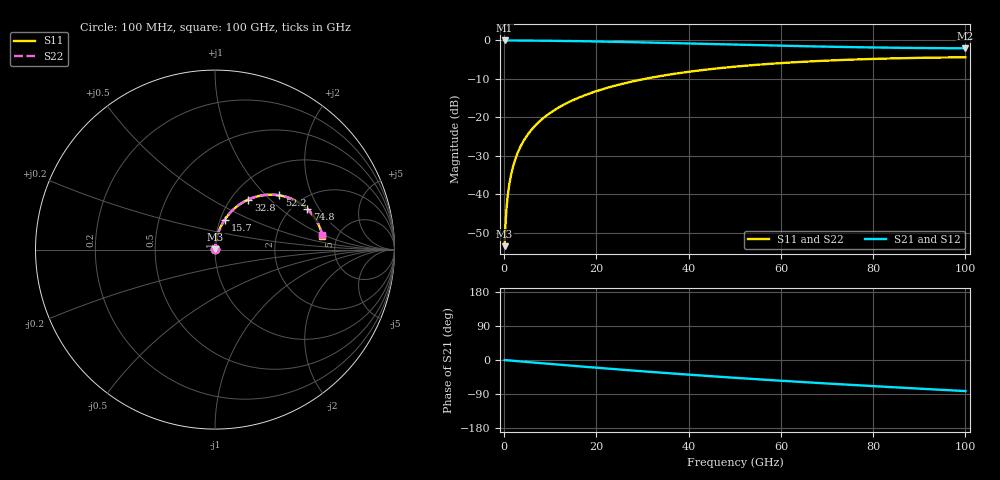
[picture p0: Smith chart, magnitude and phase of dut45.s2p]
! Touchstone file exported from HFSS 2026.1.0
!  File:  C:/ffzhzh/LocalFiles/Ansys_Project_Files/temp_train_RDL_45_1783498209_55944.aedt
!  Generated:  04:11:12 PM Jul  8, 2026
!  Design:  RDL
!  Project:  temp_train_RDL_45_1783498209_55944
! Variables:
!  h_bsmrdl = 2um
!  h_ox = 20um
!  h_rdl = 5um
!  h_sub = 80um
!  h_tmrdl = 3.61um
!  h_tsv = 80um
!  h_via = 3um
!  l_bsmrdl = 300um
!  l_sub = 654.49um
!  l_tmrdl = 254.49um
!  m_sub = 200um
!  pitch = 42.77um
!  r_tsv = 6um
!  s_tmrdl = 10um
!  w_bsmrdl = 18um
!  w_sub = 500um
!  w_tmrdl = 16.22um
!  x_tsv_center1 = 262.6um
!  x_tsv_center2 = 580.6um
!  x_tsv_center3 = 851.31um
!  x_tsv_center4 = 1169.31um
!  x_tsv_center5 = 1440.02um
!  x_tsv_center6 = 1758.02um
# GHz S MA R 50.000000
! Terminal data exported
! Port[1] = TM_RDL1_1_T1
! Port[2] = TM_RDL1_1_T2
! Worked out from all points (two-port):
!   1000 points, 100 MHz to 100 GHz, reference 50 ohm
!   highest |S21| = -0.01 dB at 100 MHz (marker M1); lowest = -2.1 dB at 100 GHz (marker M2)
!   |S21| within 3 dB of the highest: start of sweep to end of sweep
!   lowest |S11| = -53.5 dB at 100 MHz (marker M3), VSWR 1.00, Z = 50.2 + j0.126 ohm
!   |S11| at or under -10 dB: start of sweep to 30.5 GHz
!   |S22| runs from -53.5 to -4.4 dB; largest |S21 - S12| = 4.3e-15
!   S11 on the Smith chart (normalised r, x): 100 MHz: 1.00, +0.00; 15.7 GHz: 1.05, +0.36; 32.8 GHz: 1.20, +0.75; 52.2 GHz: 1.55, +1.20; 74.8 GHz: 2.38, +1.57; 100 GHz: 3.81, +0.91
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0.1  0.00212 36.5  0.9983 -0.1  0.9983 -0.1  0.00212 36.5
! Gamma 0 0 0 0
! Port Impedance 50 0 50 0
0.3  0.004135 63.8  0.9982 -0.3  0.9982 -0.3  0.004135 63.8
0.7  0.008663 76.1  0.998 -0.8  0.998 -0.8  0.008663 76.1
0.9  0.01096 78.4  0.9979 -1.0  0.9979 -1.0  0.01096 78.4
1.4  0.01676 81.3  0.9977 -1.5  0.9977 -1.5  0.01676 81.3
1.9  0.02258 82.4  0.9975 -2.0  0.9975 -2.0  0.02258 82.4
2.4  0.02842 82.8  0.9973 -2.5  0.9973 -2.5  0.02841 82.8
3.8  0.04468 82.6  0.9964 -4.0  0.9964 -4.0  0.04468 82.6
5.8  0.06762 81.2  0.9945 -6.1  0.9945 -6.1  0.06762 81.2
8.4  0.09684 78.8  0.9913 -8.8  0.9913 -8.8  0.09684 78.9
11.7  0.133 75.7  0.9862 -12.1  0.9862 -12.1  0.133 75.8
15.7  0.1753 72.0  0.9787 -16.1  0.9787 -16.1  0.1753 72.0
16.8  0.1867 70.9  0.9764 -17.2  0.9764 -17.2  0.1867 71.0
24  0.2577 64.2  0.9592 -24.2  0.9592 -24.2  0.2577 64.3
32.8  0.3355 56.3  0.9342 -32.3  0.9342 -32.3  0.3355 56.4
33.4  0.3404 55.8  0.9324 -32.9  0.9324 -32.9  0.3404 55.9
50.1  0.4564 41.8  0.8811 -47.1  0.8811 -47.1  0.4564 42.0
52.2  0.4683 40.2  0.8749 -48.7  0.8749 -48.7  0.4682 40.3
66.7  0.5347 29.4  0.8363 -59.7  0.8363 -59.7  0.5347 29.6
74.8  0.5613 23.7  0.8189 -65.4  0.8189 -65.4  0.5613 24.0
83.4  0.5822 18.0  0.8044 -71.2  0.8044 -71.2  0.5821 18.2
100  0.6032 7.2  0.7889 -82.1  0.7889 -82.1  0.6032 7.5
